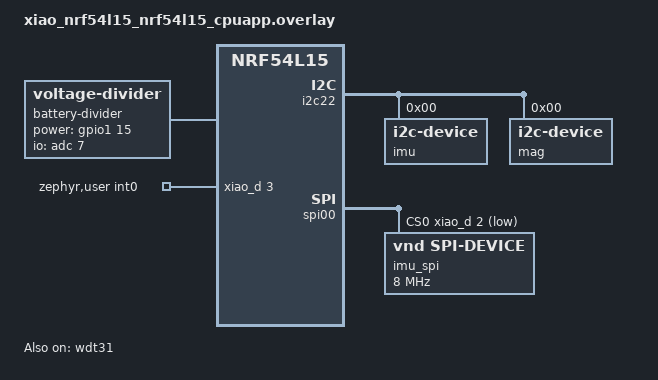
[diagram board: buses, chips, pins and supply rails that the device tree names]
/*
 * SlimeNRF tracker adaptation of the Seeed Studio XIAO nRF54L15.
 * The board definition itself comes from the Zephyr tree
 * (seeed/xiao_nrf54l15); this overlay repurposes it for the tracker.
 *
 * Base variant: no onboard IMU. An external tracker IMU is expected on the
 * XIAO connector, either on I2C (D4/D5 = i2c22) or on SPI
 * (D8/D9/D10 = spi00, chip select on D2, interrupt on D3).
 */

/* Unused onboard peripherals: the PDM mic (P1.12/P1.13), the onboard-IMU
 * I2C bus (D11/D12 pads, unpopulated on the non-Sense board), and uart21
 * (D6/D7) — the console runs on uart20 via the SAMD11 USB-UART bridge.
 */
&pdm20 {
	status = "disabled";
};

&i2c30 {
	status = "disabled";
};

&uart21 {
	status = "disabled";
};

/* Zephyr driver node for the (on this variant absent) onboard LSM6DS3TR-C;
 * the tracker uses its own register drivers behind the scan nodes below.
 */
&lsm6ds3tr_c {
	status = "disabled";
	/delete-property/ irq-gpios;
};

/* The upstream board only aliases watchdog0 to wdt31 but leaves the node
 * disabled; the tracker watchdog thread expects the device to exist.
 */
&wdt31 {
	status = "okay";
};

/* Battery sense: hand the TPS22916 load-switch GPIO (P1.15) to the app's
 * voltage-divider node instead of the always-on board regulator, so the
 * /2 divider on AIN7 (P1.14) only draws power while sampling.
 */
&vbat_pwr {
	status = "disabled";
};

/ {
	battery-divider {
		compatible = "voltage-divider";
		status = "okay";
		io-channels = <&adc 7>;
		/* VBAT through the TPS22916 load switch into a /2 divider on
		 * AIN7; Seeed's battery example scales the reading by 2.
		 */
		output-ohms = <1000000>;
		full-ohms = <(1000000+1000000)>;
		power-gpios = <&gpio1 15 GPIO_ACTIVE_HIGH>;
	};

	zephyr,user {
		/* External tracker IMU interrupt on XIAO D3. */
		int0-gpios = <&xiao_d 3 GPIO_ACTIVE_HIGH>;
	};
};

&i2c22 {
	zephyr,concat-buf-size = <1023>;
	zephyr,flash-buf-max-size = <1023>;

	imu: imu@0 {
		compatible = "i2c-device";
		reg = <0>;
	};

	mag: mag@0 {
		compatible = "i2c-device";
		reg = <0>;
	};
};

&spi00 {
	/* nRF54L SPIM00 prescaler accepts only even divisors: the IMU
	 * drivers' 24 MHz request is invalid, so clamp the controller (and
	 * child) to the safe 8 MHz used everywhere else.
	 */
	max-frequency = <DT_FREQ_M(8)>;
	/* XIAO D2 is the default external tracker IMU chip select. */
	cs-gpios = <&xiao_d 2 GPIO_ACTIVE_LOW>;

	imu_spi: imu@0 {
		compatible = "vnd,spi-device";
		reg = <0>;
		spi-max-frequency = <DT_FREQ_M(8)>;
	};
};
